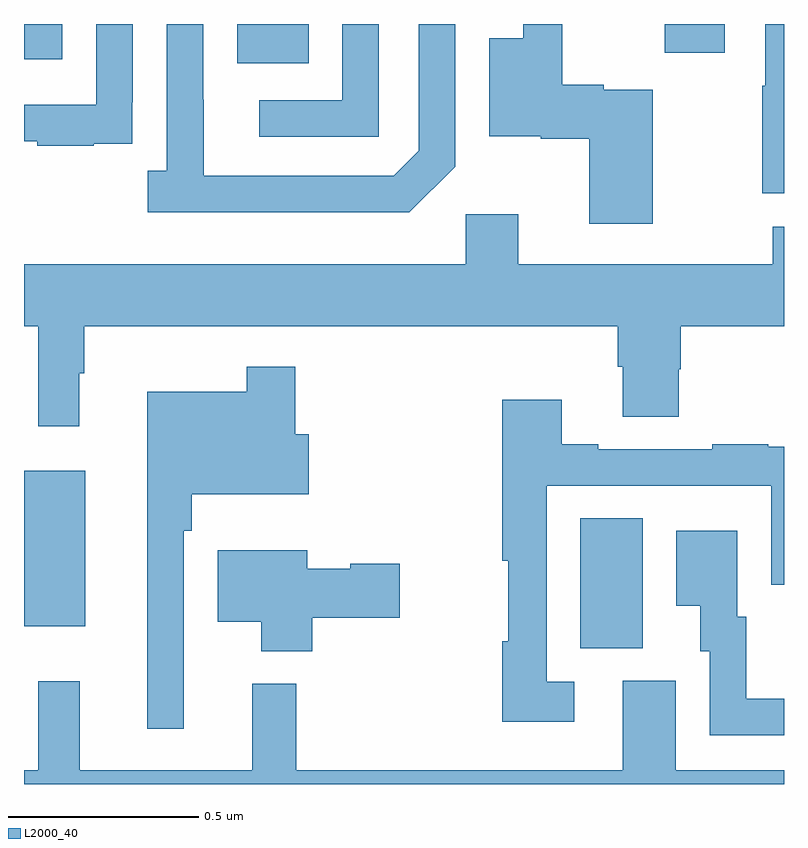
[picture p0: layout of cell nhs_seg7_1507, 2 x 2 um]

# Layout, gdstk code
import gdstk
lib = gdstk.Library(unit=1e-6, precision=1e-09)
def R(c, l, rs):  # rectangles x0, y0, x1, y1
    for r in rs: c.add(gdstk.rectangle(r[:2], r[2:], *l))
def P(c, l, *ps):  # polygons
    for p in ps: c.add(gdstk.Polygon(p, *l))
L2000_40 = (2000, 40)

nhs_seg7_1507 = lib.new_cell('nhs_seg7_1507')
R(nhs_seg7_1507, L2000_40, [(132.464,1078.357,132.628,1078.7), (131,1078.415,131.161,1078.825), (131.561,1079.897,131.749,1080), (131,1079.907,131.101,1080), (132.686,1079.925,132.844,1080)])
P(nhs_seg7_1507, L2000_40, [(133,1080),(132.95,1080),(132.95,1079.837),(132.943,1079.837),(132.943,1079.555),(133,1079.555)],
  [(131.183,1079.685),(131.285,1079.685),(131.285,1079.794),(131.286,1079.794),(131.286,1080),(131.19,1080),(131.19,1079.787),(131,1079.787),(131,1079.691),(131.035,1079.691),(131.035,1079.679),(131.183,1079.679)],
  [(132.654,1079.827),(132.525,1079.827),(132.525,1079.84),(132.416,1079.84),(132.416,1080),(132.314,1080),(132.314,1079.962),(132.224,1079.962),(132.224,1079.705),(132.36,1079.705),(132.36,1079.698),(132.488,1079.698),(132.488,1079.475),(132.654,1079.475)],
  [(131.934,1080),(131.838,1080),(131.838,1079.799),(131.619,1079.799),(131.619,1079.703),(131.934,1079.703)],
  [(132.135,1079.625),(132.135,1080),(132.039,1080),(132.039,1079.667),(131.973,1079.601),(131.473,1079.601),(131.473,1079.801),(131.472,1079.801),(131.472,1080),(131.376,1080),(131.376,1079.614),(131.325,1079.614),(131.325,1079.504),(132.014,1079.504)],
  [(131,1079.204),(131.037,1079.204),(131.037,1078.941),(131.146,1078.941),(131.146,1079.081),(131.158,1079.081),(131.158,1079.204),(132.563,1079.204),(132.563,1079.098),(132.575,1079.098),(132.575,1078.966),(132.723,1078.966),(132.723,1079.091),(132.728,1079.091),(132.728,1079.204),(133,1079.204),(133,1079.467),(132.97,1079.467),(132.97,1079.368),(132.301,1079.368),(132.301,1079.5),(132.162,1079.5),(132.162,1079.368),(131,1079.368)],
  [(131.421,1078.667),(131.441,1078.667),(131.441,1078.763),(131.749,1078.763),(131.749,1078.921),(131.714,1078.921),(131.714,1079.098),(131.586,1079.098),(131.586,1079.032),(131.324,1079.032),(131.324,1078.146),(131.421,1078.146)],
  [(132.448,1078.269),(132.375,1078.269),(132.375,1078.785),(132.966,1078.785),(132.966,1078.524),(133,1078.524),(133,1078.887),(132.959,1078.887),(132.959,1078.894),(132.811,1078.894),(132.811,1078.881),(132.511,1078.881),(132.511,1078.894),(132.415,1078.894),(132.415,1079.011),(132.259,1079.011),(132.259,1078.587),(132.274,1078.587),(132.274,1078.376),(132.259,1078.376),(132.259,1078.164),(132.448,1078.164)],
  [(133,1078.224),(132.901,1078.224),(132.901,1078.44),(132.877,1078.44),(132.877,1078.666),(132.716,1078.666),(132.716,1078.469),(132.779,1078.469),(132.779,1078.35),(132.804,1078.35),(132.804,1078.128),(133,1078.128)],
  [(131.759,1078.438),(131.989,1078.438),(131.989,1078.58),(131.859,1078.58),(131.859,1078.567),(131.746,1078.567),(131.746,1078.615),(131.51,1078.615),(131.51,1078.427),(131.624,1078.427),(131.624,1078.349),(131.759,1078.349)],
  [(133,1078.036),(132.715,1078.036),(132.715,1078.272),(132.575,1078.272),(132.575,1078.036),(131.717,1078.036),(131.717,1078.264),(131.6,1078.264),(131.6,1078.036),(131.147,1078.036),(131.147,1078.27),(131.037,1078.27),(131.037,1078.036),(131,1078.036),(131,1078),(133,1078)])

lib.write_gds('nhs_seg7_1507.gds')
